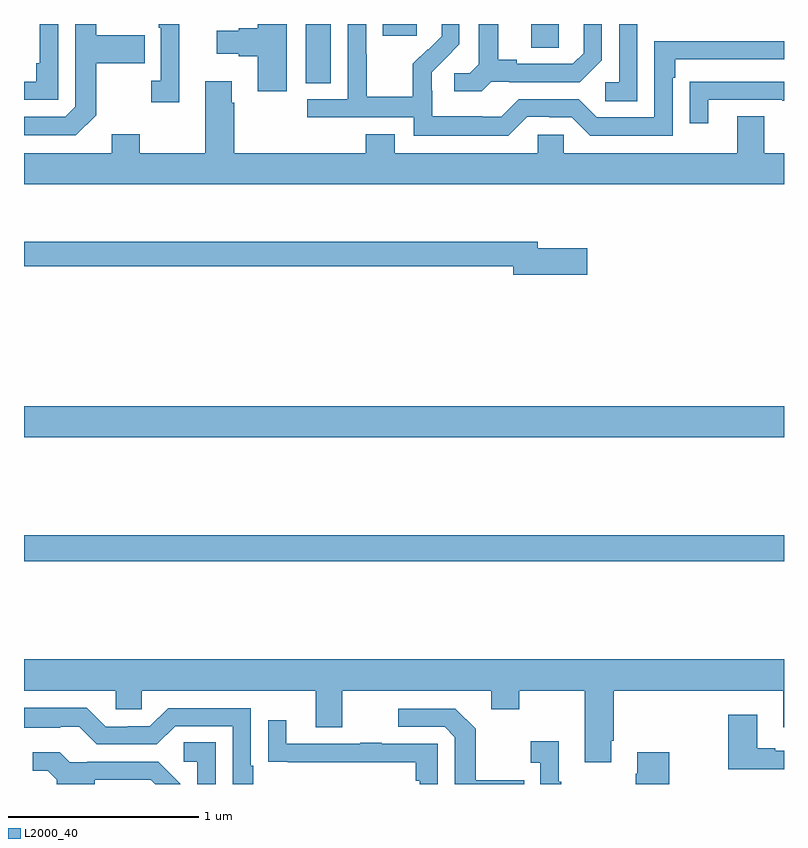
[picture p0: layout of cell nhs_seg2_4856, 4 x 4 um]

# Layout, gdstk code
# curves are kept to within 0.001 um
import gdstk
lib = gdstk.Library(unit=1e-6, precision=1e-09)
def R(c, l, rs):  # rectangles x0, y0, x1, y1
    for r in rs: c.add(gdstk.rectangle(r[:2], r[2:], *l))
def P(c, l, *ps):  # polygons
    for p in ps: c.add(gdstk.Polygon(p, *l))
L2000_40 = (2000, 40)

nhs_seg2_4856 = lib.new_cell('nhs_seg2_4856')
R(nhs_seg2_4856, L2000_40, [(375,658.972,379,659.108), (375,659.624,379,659.788), (376.484,661.489,376.615,661.8), (377.669,661.675,377.814,661.8), (376.889,661.737,377.068,661.8)])
P(nhs_seg2_4856, L2000_40, [(377.649,661.311),(377.765,661.311),(377.765,661.308),(377.883,661.308),(377.979,661.212),(378.414,661.212),(378.414,661.517),(378.427,661.517),(378.427,661.614),(379,661.614),(379,661.71),(378.318,661.71),(378.318,661.308),(378.015,661.308),(377.919,661.404),(377.604,661.404),(377.511,661.311),(377.411,661.311),(377.411,661.315),(377.148,661.315),(377.148,661.449),(377.146,661.449),(377.146,661.546),(377.292,661.694),(377.292,661.8),(377.198,661.8),(377.198,661.736),(377.127,661.665),(377.124,661.668),(377.047,661.591),(377.047,661.417),(376.803,661.417),(376.803,661.64),(376.8,661.64),(376.8,661.8),(376.704,661.8),(376.704,661.404),(376.491,661.404),(376.491,661.308),(377.052,661.308),(377.052,661.211),(377.549,661.211)],
  [(376.384,661.8),(376.229,661.8),(376.229,661.778),(376.13,661.778),(376.13,661.765),(376.014,661.765),(376.014,661.643),(376.13,661.643),(376.13,661.631),(376.229,661.631),(376.229,661.446),(376.384,661.446)],
  [(377.46,661.497),(377.554,661.497),(377.554,661.494),(377.926,661.494),(378.042,661.61),(378.042,661.8),(377.945,661.8),(377.945,661.647),(377.888,661.59),(377.593,661.59),(377.593,661.613),(377.497,661.613),(377.497,661.8),(377.393,661.8),(377.393,661.589),(377.346,661.542),(377.265,661.542),(377.265,661.445),(377.408,661.445)],
  [(375.18,661.8),(375.084,661.8),(375.084,661.594),(375.064,661.594),(375.064,661.497),(375,661.497),(375,661.401),(375.18,661.401)],
  [(375.818,661.8),(375.708,661.8),(375.708,661.781),(375.72,661.781),(375.72,661.502),(375.669,661.502),(375.669,661.389),(375.818,661.389)],
  [(378.228,661.8),(378.132,661.8),(378.132,661.494),(378.06,661.494),(378.06,661.393),(378.228,661.393)],
  [(375.379,661.321),(375.379,661.594),(375.635,661.594),(375.635,661.741),(375.379,661.741),(375.379,661.8),(375.27,661.8),(375.27,661.365),(375.216,661.311),(375,661.311),(375,661.215),(375.273,661.215)],
  [(379,661.12),(378.895,661.12),(378.895,661.315),(378.755,661.315),(378.755,661.12),(377.841,661.12),(377.841,661.218),(377.703,661.218),(377.703,661.12),(376.951,661.12),(376.951,661.219),(376.799,661.219),(376.799,661.12),(376.106,661.12),(376.106,661.385),(376.093,661.385),(376.093,661.498),(375.953,661.498),(375.953,661.12),(375.609,661.12),(375.609,661.219),(375.461,661.219),(375.461,661.12),(375,661.12),(375,660.956),(379,660.956)],
  [(378.601,661.401),(378.991,661.401),(378.991,661.396),(379,661.396),(379,661.497),(378.607,661.497),(378.607,661.496),(378.505,661.496),(378.505,661.278),(378.601,661.278)],
  [(377.965,660.621),(377.704,660.621),(377.704,660.655),(375,660.655),(375,660.526),(377.576,660.526),(377.576,660.479),(377.965,660.479)],
  [(378.091,658.027),(378.104,658.027),(378.104,658.292),(378.995,658.292),(378.995,658.098),(379,658.098),(379,658.456),(375,658.456),(375,658.292),(375.483,658.292),(375.483,658.194),(375.621,658.194),(375.621,658.292),(376.535,658.292),(376.535,658.098),(376.675,658.098),(376.675,658.292),(377.459,658.292),(377.459,658.193),(377.607,658.193),(377.607,658.292),(377.951,658.292),(377.951,657.915),(378.091,657.915)],
  [(376.207,657.895),(376.194,657.895),(376.194,658.2),(375.759,658.2),(375.663,658.104),(375.545,658.104),(375.545,658.101),(375.429,658.101),(375.329,658.201),(375,658.201),(375,658.097),(375.191,658.097),(375.191,658.101),(375.291,658.101),(375.384,658.008),(375.699,658.008),(375.795,658.104),(376.098,658.104),(376.098,657.8),(376.207,657.8)],
  [(377.633,657.819),(377.377,657.819),(377.377,658.091),(377.271,658.197),(376.971,658.197),(376.971,658.101),(377.214,658.101),(377.268,658.047),(377.268,657.8),(377.633,657.8)],
  [(379,657.975),(378.955,657.975),(378.955,657.988),(378.859,657.988),(378.859,658.165),(378.707,658.165),(378.707,657.878),(379,657.878)],
  [(377.178,658.011),(376.883,658.011),(376.883,658.016),(376.771,658.016),(376.771,658.011),(376.381,658.011),(376.381,658.135),(376.285,658.135),(376.285,657.916),(376.387,657.916),(376.387,657.915),(377.062,657.915),(377.062,657.818),(377.082,657.818),(377.082,657.8),(377.178,657.8)],
  [(377.827,657.811),(377.815,657.811),(377.815,658.024),(377.667,658.024),(377.667,657.911),(377.718,657.911),(377.718,657.8),(377.827,657.8)],
  [(376.008,658.019),(375.84,658.019),(375.84,657.918),(375.912,657.918),(375.912,657.8),(376.008,657.8)],
  [(375.373,657.822),(375.668,657.822),(375.69,657.8),(375.822,657.8),(375.822,657.802),(375.706,657.918),(375.334,657.918),(375.334,657.915),(375.24,657.915),(375.188,657.967),(375.045,657.967),(375.045,657.87),(375.126,657.87),(375.173,657.823),(375.173,657.8),(375.373,657.8)],
  [(378.395,657.967),(378.227,657.967),(378.227,657.854),(378.22,657.854),(378.22,657.8),(378.395,657.8)])

lib.write_gds('nhs_seg2_4856.gds')
